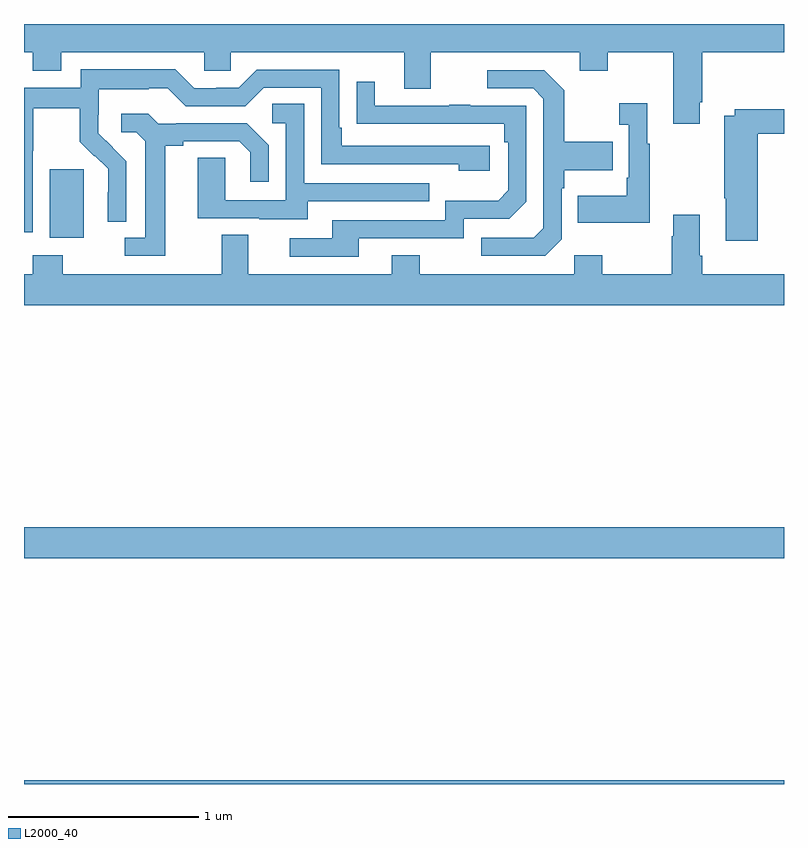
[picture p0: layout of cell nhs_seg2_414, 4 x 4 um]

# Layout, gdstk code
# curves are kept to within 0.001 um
import gdstk
lib = gdstk.Library(unit=1e-6, precision=1e-09)
def R(c, l, rs):  # rectangles x0, y0, x1, y1
    for r in rs: c.add(gdstk.rectangle(r[:2], r[2:], *l))
def P(c, l, *ps):  # polygons
    for p in ps: c.add(gdstk.Polygon(p, *l))
L2000_40 = (2000, 40)

nhs_seg2_414 = lib.new_cell('nhs_seg2_414')
R(nhs_seg2_414, L2000_40, [(131,627.8,135,627.82), (131,628.988,135,629.152), (131.135,630.674,131.314,631.035)])
P(nhs_seg2_414, L2000_40, [(131,631.652),(131.045,631.652),(131.045,631.553),(131.197,631.553),(131.197,631.652),(131.949,631.652),(131.949,631.554),(132.087,631.554),(132.087,631.652),(133.001,631.652),(133.001,631.458),(133.141,631.458),(133.141,631.652),(133.925,631.652),(133.925,631.553),(134.073,631.553),(134.073,631.652),(134.417,631.652),(134.417,631.275),(134.557,631.275),(134.557,631.387),(134.57,631.387),(134.57,631.652),(135,631.652),(135,631.8),(131,631.8)],
  [(131.046,631.132),(131.049,631.132),(131.049,631.356),(131.293,631.356),(131.293,631.181),(131.37,631.104),(131.373,631.107),(131.444,631.037),(131.444,630.914),(131.442,630.914),(131.442,630.76),(131.538,630.76),(131.538,631.078),(131.392,631.226),(131.392,631.323),(131.394,631.323),(131.394,631.457),(131.657,631.457),(131.657,631.461),(131.757,631.461),(131.85,631.368),(132.165,631.368),(132.261,631.464),(132.564,631.464),(132.564,631.062),(133.289,631.062),(133.289,631.028),(133.45,631.028),(133.45,631.158),(132.673,631.158),(132.673,631.255),(132.66,631.255),(132.66,631.56),(132.225,631.56),(132.129,631.464),(132.011,631.464),(132.011,631.461),(131.895,631.461),(131.795,631.561),(131.298,631.561),(131.298,631.464),(131,631.464),(131,630.703),(131.046,630.703)],
  [(133.83,630.666),(133.83,630.935),(133.843,630.935),(133.843,631.031),(134.099,631.031),(134.099,631.179),(133.843,631.179),(133.843,631.451),(133.737,631.557),(133.437,631.557),(133.437,631.461),(133.68,631.461),(133.734,631.407),(133.734,630.726),(133.683,630.675),(133.407,630.675),(133.407,630.579),(133.743,630.579)],
  [(132.763,630.672),(133.314,630.672),(133.314,630.774),(133.554,630.774),(133.644,630.864),(133.644,631.371),(133.349,631.371),(133.349,631.376),(133.237,631.376),(133.237,631.371),(132.847,631.371),(132.847,631.495),(132.751,631.495),(132.751,631.276),(133.528,631.275),(133.528,631.178),(133.548,631.178),(133.548,630.924),(133.495,630.871),(133.218,630.871),(133.218,630.768),(132.623,630.768),(132.623,630.672),(132.399,630.672),(132.399,630.576),(132.763,630.576)],
  [(134.293,631.171),(134.281,631.171),(134.281,631.384),(134.133,631.384),(134.133,631.271),(134.184,631.271),(134.184,630.991),(134.172,630.991),(134.172,630.895),(133.915,630.895),(133.915,630.755),(134.293,630.755)],
  [(132.493,630.867),(133.133,630.867),(133.133,630.963),(132.474,630.963),(132.474,631.379),(132.306,631.379),(132.306,631.278),(132.378,631.278),(132.378,630.873),(132.06,630.873),(132.06,631.097),(131.915,631.097),(131.915,630.777),(132.239,630.777),(132.239,630.773),(132.493,630.773)],
  [(134.861,631.222),(135,631.222),(135,631.351),(134.742,631.351),(134.742,631.318),(134.686,631.318),(134.686,630.883),(134.693,630.883),(134.693,630.66),(134.861,630.66)],
  [(131.743,631.16),(131.839,631.16),(131.839,631.182),(132.134,631.182),(132.191,631.125),(132.191,630.969),(132.288,630.969),(132.288,631.162),(132.172,631.278),(131.8,631.278),(131.8,631.275),(131.706,631.275),(131.654,631.327),(131.511,631.327),(131.511,631.23),(131.592,631.23),(131.639,631.183),(131.639,630.675),(131.529,630.675),(131.529,630.579),(131.743,630.579)],
  [(135,630.484),(134.57,630.484),(134.57,630.58),(134.557,630.58),(134.557,630.796),(134.417,630.796),(134.417,630.683),(134.41,630.683),(134.41,630.484),(134.043,630.484),(134.043,630.583),(133.896,630.583),(133.896,630.484),(133.083,630.484),(133.083,630.583),(132.935,630.583),(132.935,630.484),(132.181,630.484),(132.181,630.692),(132.041,630.692),(132.041,630.484),(131.205,630.484),(131.205,630.583),(131.045,630.583),(131.045,630.484),(131,630.484),(131,630.32),(135,630.32)])

lib.write_gds('nhs_seg2_414.gds')
